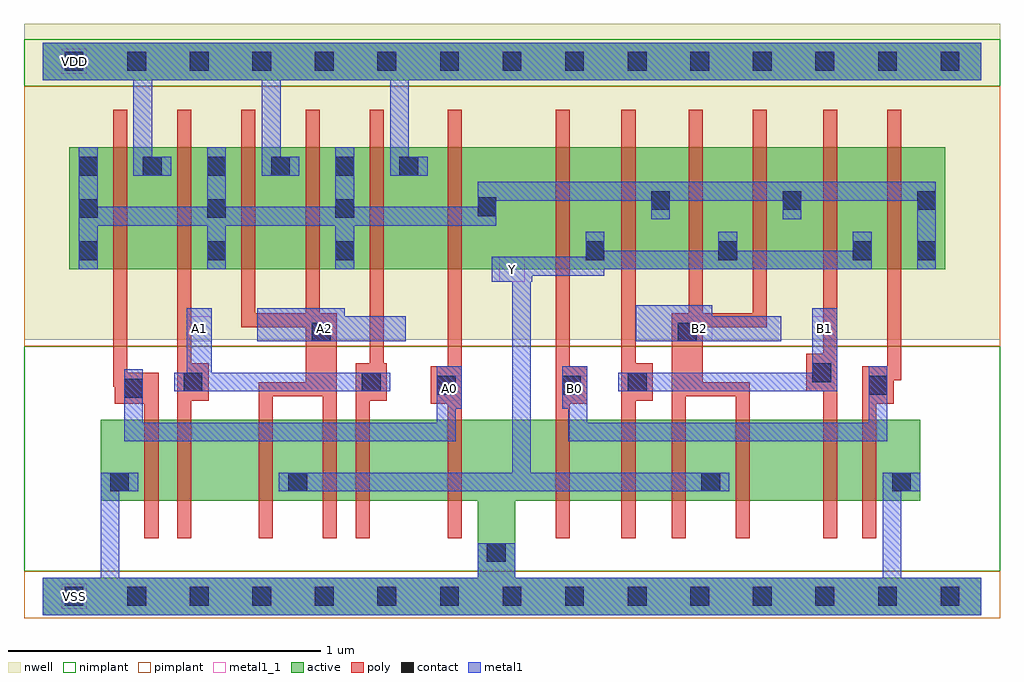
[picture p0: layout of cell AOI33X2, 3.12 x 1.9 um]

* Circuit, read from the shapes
.subckt AOI33X2 A0 A1 A2 B0 B1 B2 VDD VSS Y
M1 n1 A0 VSS VSS nfet w=0.26u l=0.045u
M2 n2 A1 n1 VSS nfet w=0.26u l=0.045u
M3 Y A2 n2 VSS nfet w=0.26u l=0.045u
M4 n3 A2 Y VSS nfet w=0.26u l=0.045u
M5 n4 A1 n3 VSS nfet w=0.26u l=0.045u
M6 VSS A0 n4 VSS nfet w=0.26u l=0.045u
M7 n5 B0 VSS VSS nfet w=0.26u l=0.045u
M8 n6 B1 n5 VSS nfet w=0.26u l=0.045u
M9 Y B2 n6 VSS nfet w=0.26u l=0.045u
M10 n7 B2 Y VSS nfet w=0.26u l=0.045u
M11 n8 B1 n7 VSS nfet w=0.26u l=0.045u
M12 VSS B0 n8 VSS nfet w=0.26u l=0.045u
M13 VDD A0 n9 VDD pfet w=0.39u l=0.045u m=2
M14 n9 A1 VDD VDD pfet w=0.39u l=0.045u m=2
M15 VDD A2 n9 VDD pfet w=0.39u l=0.045u m=2
M16 Y B0 n9 VDD pfet w=0.39u l=0.045u m=2
M17 n9 B1 Y VDD pfet w=0.39u l=0.045u m=2
M18 Y B2 n9 VDD pfet w=0.39u l=0.045u m=2
.ends

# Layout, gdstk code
import gdstk
lib = gdstk.Library(unit=1e-6, precision=5e-10)
def R(c, l, rs):  # rectangles x0, y0, x1, y1
    for r in rs: c.add(gdstk.rectangle(r[:2], r[2:], *l))
def A(c, l, x, y, w, h, nx, ny, dx, dy):  # array of equal rectangles
    R(c, l, [(x+i*dx, y+j*dy, x+i*dx+w, y+j*dy+h) for i in range(nx) for j in range(ny)])
def P(c, l, *ps):  # polygons
    for p in ps: c.add(gdstk.Polygon(p, *l))
active = (1, 0)
nwell = (2, 0)
poly = (3, 0)
nimplant = (4, 0)
pimplant = (5, 0)
contact = (6, 0)
metal1 = (7, 0)
metal1_1 = (7, 1)

aoi33x2 = lib.new_cell('AOI33X2')
R(aoi33x2, active, [(0.085,1.045,2.885,1.435), (0,1.65,3,1.77)])
P(aoi33x2, active, [(0.185,0.565),(2.805,0.565),(2.805,0.305),(1.51,0.305),(1.51,0.06),(3,0.06),(3,-0.06),(0,-0.06),(0,0.06),(1.39,0.06),(1.39,0.305),(0.185,0.305)])
R(aoi33x2, nwell, [(-0.06,0.82,3.06,1.83)])
P(aoi33x2, poly, [(0.225,1.555),(0.27,1.555),(0.27,0.715),(0.37,0.715),(0.37,0.185),(0.325,0.185),(0.325,0.615),(0.23,0.615),(0.23,0.67),(0.225,0.67)],
  [(0.43,1.555),(0.475,1.555),(0.475,0.745),(0.53,0.745),(0.53,0.625),(0.475,0.625),(0.475,0.185),(0.43,0.185)],
  [(0.635,1.555),(0.68,1.555),(0.68,0.905),(0.84,0.905),(0.84,1.555),(0.885,1.555),(0.885,0.905),(0.94,0.905),(0.94,0.185),(0.895,0.185),(0.895,0.64),(0.735,0.64),(0.735,0.185),(0.69,0.185),(0.69,0.685),(0.84,0.685),(0.84,0.86),(0.635,0.86)],
  [(1.045,1.555),(1.09,1.555),(1.09,0.745),(1.1,0.745),(1.1,0.625),(1.045,0.625),(1.045,0.185),(1,0.185),(1,0.745),(1.045,0.745)],
  [(1.295,1.555),(1.34,1.555),(1.34,0.185),(1.295,0.185),(1.295,0.615),(1.24,0.615),(1.24,0.735),(1.295,0.735)],
  [(1.64,1.555),(1.685,1.555),(1.685,0.735),(1.74,0.735),(1.74,0.615),(1.685,0.615),(1.685,0.185),(1.64,0.185)],
  [(1.85,1.555),(1.895,1.555),(1.895,0.745),(1.95,0.745),(1.95,0.625),(1.895,0.625),(1.895,0.185),(1.85,0.185)],
  [(2.065,1.555),(2.11,1.555),(2.11,0.905),(2.27,0.905),(2.27,1.555),(2.315,1.555),(2.315,0.86),(2.11,0.86),(2.11,0.685),(2.26,0.685),(2.26,0.185),(2.215,0.185),(2.215,0.64),(2.055,0.64),(2.055,0.185),(2.01,0.185),(2.01,0.905),(2.065,0.905)],
  [(2.495,1.555),(2.54,1.555),(2.54,0.185),(2.495,0.185),(2.495,0.655),(2.44,0.655),(2.44,0.775),(2.495,0.775)],
  [(2.7,1.555),(2.745,1.555),(2.745,0.69),(2.72,0.69),(2.72,0.615),(2.665,0.615),(2.665,0.185),(2.62,0.185),(2.62,0.735),(2.7,0.735)])
R(aoi33x2, nimplant, [(-0.06,0.08,3.06,0.8), (-0.06,1.63,3.06,1.78)])
R(aoi33x2, pimplant, [(-0.06,-0.07,3.06,0.08), (-0.06,0.8,3.06,1.63)])
A(aoi33x2, contact, 0.07, -0.03, 0.06, 0.06, 15, 2, 0.2, 1.71)
A(aoi33x2, contact, 0.115, 1.075, 0.06, 0.06, 3, 2, 0.41, 0.135)
A(aoi33x2, contact, 0.115, 1.345, 0.06, 0.06, 6, 1, 0.205, 0)
R(aoi33x2, contact, [(1.42,0.11,1.48,0.17), (0.215,0.335,0.275,0.395), (0.785,0.335,0.845,0.395), (2.105,0.335,2.165,0.395), (2.715,0.335,2.775,0.395), (0.26,0.635,0.32,0.695), (1.26,0.645,1.32,0.705), (1.66,0.645,1.72,0.705), (2.64,0.645,2.7,0.705), (0.45,0.655,0.51,0.715), (1.02,0.655,1.08,0.715), (1.87,0.655,1.93,0.715), (2.46,0.685,2.52,0.745), (0.86,0.815,0.92,0.875), (2.03,0.815,2.09,0.875), (1.735,1.075,1.795,1.135), (2.16,1.075,2.22,1.135), (2.59,1.075,2.65,1.135), (2.795,1.075,2.855,1.135), (1.39,1.215,1.45,1.275), (1.945,1.235,2.005,1.295), (2.365,1.235,2.425,1.295), (2.795,1.235,2.855,1.295)])
P(aoi33x2, metal1, [(0,1.77),(3,1.77),(3,1.65),(1.17,1.65),(1.17,1.405),(1.23,1.405),(1.23,1.345),(1.11,1.345),(1.11,1.65),(0.76,1.65),(0.76,1.405),(0.82,1.405),(0.82,1.345),(0.7,1.345),(0.7,1.65),(0.35,1.65),(0.35,1.405),(0.41,1.405),(0.41,1.345),(0.29,1.345),(0.29,1.65),(0,1.65)],
  [(0.115,1.435),(0.175,1.435),(0.175,1.245),(0.525,1.245),(0.525,1.435),(0.585,1.435),(0.585,1.245),(0.935,1.245),(0.935,1.435),(0.995,1.435),(0.995,1.245),(1.39,1.245),(1.39,1.325),(2.855,1.325),(2.855,1.045),(2.795,1.045),(2.795,1.265),(2.425,1.265),(2.425,1.205),(2.365,1.205),(2.365,1.265),(2.005,1.265),(2.005,1.205),(1.945,1.205),(1.945,1.265),(1.45,1.265),(1.45,1.185),(0.995,1.185),(0.995,1.045),(0.935,1.045),(0.935,1.185),(0.585,1.185),(0.585,1.045),(0.525,1.045),(0.525,1.185),(0.175,1.185),(0.175,1.045),(0.115,1.045)],
  [(1.735,1.165),(1.795,1.165),(1.795,1.105),(2.16,1.105),(2.16,1.165),(2.22,1.165),(2.22,1.105),(2.59,1.105),(2.59,1.165),(2.65,1.165),(2.65,1.045),(1.795,1.045),(1.795,1.025),(1.565,1.025),(1.565,1.005),(1.56,1.005),(1.56,0.395),(2.195,0.395),(2.195,0.335),(0.755,0.335),(0.755,0.395),(1.5,0.395),(1.5,1.005),(1.435,1.005),(1.435,1.085),(1.735,1.085)],
  [(0.685,0.92),(0.965,0.92),(0.965,0.895),(1.16,0.895),(1.16,0.815),(0.685,0.815)],
  [(0.46,0.92),(0.54,0.92),(0.54,0.715),(1.11,0.715),(1.11,0.655),(0.42,0.655),(0.42,0.715),(0.46,0.715)],
  [(0.26,0.725),(0.32,0.725),(0.32,0.555),(1.26,0.555),(1.26,0.735),(1.34,0.735),(1.34,0.6),(1.32,0.6),(1.32,0.495),(0.26,0.495)],
  [(1.895,0.93),(2.14,0.93),(2.14,0.895),(2.36,0.895),(2.36,0.815),(1.895,0.815)],
  [(2.46,0.92),(2.54,0.92),(2.54,0.655),(1.84,0.655),(1.84,0.715),(2.46,0.715)],
  [(1.66,0.735),(1.74,0.735),(1.74,0.555),(2.64,0.555),(2.64,0.735),(2.7,0.735),(2.7,0.495),(1.68,0.495),(1.68,0.6),(1.66,0.6)],
  [(0.185,0.395),(0.305,0.395),(0.305,0.335),(0.245,0.335),(0.245,0.06),(1.39,0.06),(1.39,0.17),(1.51,0.17),(1.51,0.06),(2.685,0.06),(2.685,0.395),(2.805,0.395),(2.805,0.335),(2.745,0.335),(2.745,0.06),(3,0.06),(3,-0.06),(0,-0.06),(0,0.06),(0.185,0.06)])
R(aoi33x2, metal1_1, [(0.06,-0.04,0.14,0.04), (1.26,0.625,1.34,0.705), (1.66,0.625,1.74,0.705), (0.46,0.815,0.54,0.895), (0.86,0.815,0.94,0.895), (2.06,0.815,2.14,0.895), (2.46,0.815,2.54,0.895), (1.46,1.005,1.54,1.085), (0.06,1.67,0.14,1.75)])
aoi33x2.add(gdstk.Label('Y', (1.5,1.045), layer=7, texttype=1))
aoi33x2.add(gdstk.Label('A2', (0.9,0.855), layer=7, texttype=1))
aoi33x2.add(gdstk.Label('B2', (2.1,0.855), layer=7, texttype=1))
aoi33x2.add(gdstk.Label('B1', (2.5,0.855), layer=7, texttype=1))
aoi33x2.add(gdstk.Label('A1', (0.5,0.855), layer=7, texttype=1))
aoi33x2.add(gdstk.Label('A0', (1.3,0.665), layer=7, texttype=1))
aoi33x2.add(gdstk.Label('B0', (1.7,0.665), layer=7, texttype=1))
aoi33x2.add(gdstk.Label('VDD', (0.1,1.71), layer=7, texttype=1))
aoi33x2.add(gdstk.Label('VSS', (0.1,0), layer=7, texttype=1))
aoi33x2.add(gdstk.Label('AOI33X2', (0,0), layer=63, texttype=0))

lib.write_gds('AOI33X2.gds')
